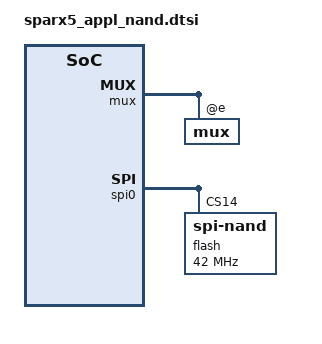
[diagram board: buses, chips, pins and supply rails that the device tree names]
// SPDX-License-Identifier: (GPL-2.0+ OR MIT)
/*
 * Copyright (c) 2020 Microchip Technology Inc. and its subsidiaries.
 */

#include "sparx5_nand.dtsi"

&mux {
	/* CS14 (NAND) is on SPI2 */
	mux@e {
		reg = <14>;
		microchip,bus-interface = <1>;
	};
};

&spi0 {
	/delete-node/ spi@e;

	flash@e {
		compatible = "spi-nand";
		pinctrl-0 = <&cs14_pins>;
		pinctrl-names = "default";
		spi-max-frequency = <42000000>;
		reg = <14>;
		rx-sample-delay-ns = <7>;  /* Tune for speed */
	};
};
